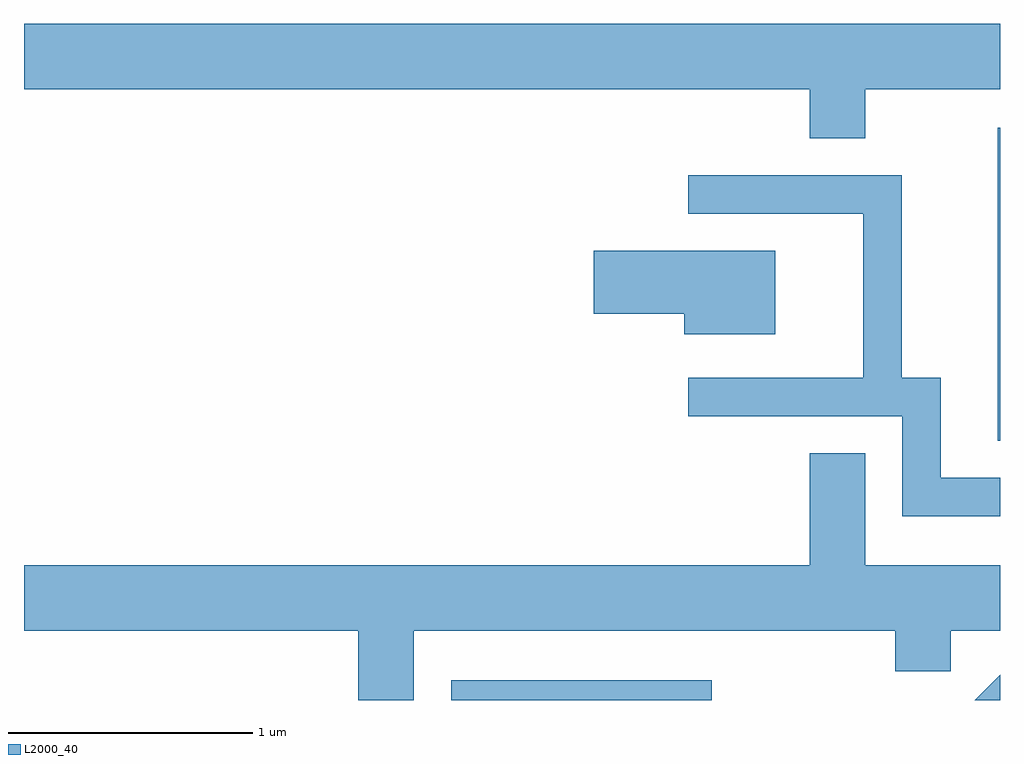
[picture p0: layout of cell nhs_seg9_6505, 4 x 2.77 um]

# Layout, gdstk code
import gdstk
lib = gdstk.Library(unit=1e-6, precision=1e-09)
def R(c, l, rs):  # rectangles x0, y0, x1, y1
    for r in rs: c.add(gdstk.rectangle(r[:2], r[2:], *l))
def P(c, l, *ps):  # polygons
    for p in ps: c.add(gdstk.Polygon(p, *l))
L2000_40 = (2000, 40)

nhs_seg9_6505 = lib.new_cell('nhs_seg9_6505')
R(nhs_seg9_6505, L2000_40, [(379.361,1980.432,380.429,1980.514), (381.601,1981.496,381.611,1982.779)])
P(nhs_seg9_6505, L2000_40, [(381.059,1982.936),(381.611,1982.936),(381.611,1983.204),(377.611,1983.204),(377.611,1982.936),(380.831,1982.936),(380.831,1982.736),(381.059,1982.736)],
  [(381.611,1981.344),(381.369,1981.344),(381.369,1981.754),(381.209,1981.754),(381.209,1982.584),(380.333,1982.584),(380.333,1982.426),(381.051,1982.426),(381.051,1981.754),(380.333,1981.754),(380.333,1981.596),(381.211,1981.596),(381.211,1981.186),(381.611,1981.186)],
  [(380.689,1982.274),(379.946,1982.274),(379.946,1982.016),(380.316,1982.016),(380.316,1981.931),(380.689,1981.931)],
  [(379.209,1980.716),(381.181,1980.716),(381.181,1980.551),(381.409,1980.551),(381.409,1980.716),(381.611,1980.716),(381.611,1980.984),(381.059,1980.984),(381.059,1981.444),(380.831,1981.444),(380.831,1980.984),(377.611,1980.984),(377.611,1980.716),(378.981,1980.716),(378.981,1980.432),(379.209,1980.432)],
  [(381.611,1980.536),(381.507,1980.432),(381.611,1980.432)])

lib.write_gds('nhs_seg9_6505.gds')
